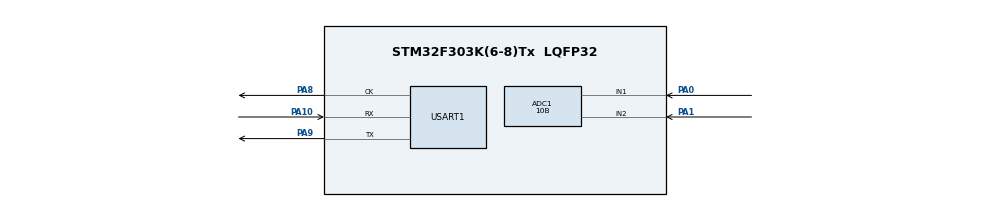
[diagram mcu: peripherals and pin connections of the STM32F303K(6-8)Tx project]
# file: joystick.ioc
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ADC1.Channel-0\#ChannelRegularConversion=ADC_CHANNEL_1
ADC1.ContinuousConvMode=DISABLE
ADC1.DMAContinuousRequests=ENABLE
ADC1.ExternalTrigConv=ADC_EXTERNALTRIGCONV_T1_TRGO
ADC1.NbrOfConversionFlag=1
ADC1.Offset-0\#ChannelRegularConversion=0
ADC1.OffsetNumber-0\#ChannelRegularConversion=ADC_OFFSET_NONE
ADC1.Rank-0\#ChannelRegularConversion=1
ADC1.Resolution=ADC_RESOLUTION_10B
ADC1.SamplingTime-0\#ChannelRegularConversion=ADC_SAMPLETIME_1CYCLE_5
ADC1.SubFamily=STM32F303x8
ADC1.master=1
Dma.ADC1.0.Direction=DMA_PERIPH_TO_MEMORY
Dma.ADC1.0.Instance=DMA1_Channel1
Dma.ADC1.0.MemDataAlignment=DMA_MDATAALIGN_HALFWORD
Dma.ADC1.0.MemInc=DMA_MINC_ENABLE
Dma.ADC1.0.Mode=DMA_NORMAL
Dma.ADC1.0.PeriphDataAlignment=DMA_PDATAALIGN_HALFWORD
Dma.ADC1.0.PeriphInc=DMA_PINC_DISABLE
Dma.ADC1.0.Priority=DMA_PRIORITY_HIGH
Dma.Request0=ADC1
Mcu.Family=STM32F3
Mcu.Name=STM32F303K(6-8)Tx
Mcu.Package=LQFP32
NVIC.ADC1_2_IRQn=true\:0\:0\:false\:false\:true\:true\:true\:true
NVIC.DMA1_Channel1_IRQn=true\:0\:0\:false\:false\:true\:false\:true\:true
NVIC.PriorityGroup=NVIC_PRIORITYGROUP_4
PA0.Mode=IN1-Single-Ended
PA0.Signal=ADC1_IN1
PA1.Mode=IN2-Single-Ended
PA1.Signal=ADC1_IN2
PA10.Mode=Synchronous
PA10.Signal=USART1_RX
PA8.Mode=Synchronous
PA8.Signal=USART1_CK
PA9.Mode=Synchronous
PA9.Signal=USART1_TX
ProjectManager.HeapSize=0x200
ProjectManager.StackSize=0x400
ProjectManager.TargetToolchain=STM32CubeIDE
RCC.AHBFreq_Value=8000000
RCC.APB1Freq_Value=8000000
RCC.APB2Freq_Value=8000000
RCC.CortexFreq_Value=8000000
RCC.DATA_CACHE_ENABLE=1
RCC.HSE_VALUE=8000000
RCC.HSI_VALUE=8000000
RCC.INSTRUCTION_CACHE_ENABLE=1
RCC.MSICalibrationValue=0
RCC.PLLMUL=RCC_PLL_MUL4
RCC.PWR_Regulator_Voltage_Scale=PWR_REGULATOR_VOLTAGE_SCALE1
RCC.SYSCLKFreq_VALUE=8000000
TIM1.Channel-Output\ Compare1\ No\ Output=TIM_CHANNEL_1
TIM1.ClockDivision=TIM_CLOCKDIVISION_DIV4
TIM1.Period=999
TIM1.Prescaler=31
TIM1.TIM_MasterOutputTrigger=TIM_TRGO_UPDATE
TIM1.TIM_MasterOutputTrigger2=TIM_TRGO2_UPDATE
USART1.VirtualMode-Synchronous=VM_SYNC
VP_TIM1_VS_ClockSourceINT.Mode=Internal
VP_TIM1_VS_no_output1.Mode=Output Compare1 No Output
board=custom

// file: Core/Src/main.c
/* USER CODE BEGIN Header */
/**
  ******************************************************************************
  * @file           : main.c
  * @brief          : Main program body
  ******************************************************************************
  * @attention
  *
  * Copyright (c) 2024 STMicroelectronics.
  * All rights reserved.
  *
  * This software is licensed under terms that can be found in the LICENSE file
  * in the root directory of this software component.
  * If no LICENSE file comes with this software, it is provided AS-IS.
  *
  ******************************************************************************
  */
/* USER CODE END Header */
#include "main.h"
#include "adc.h"
#include "dma.h"
#include "usart.h"
#include "gpio.h"
#include "tim1.h"
#include "../MD25/md25.h"

/* USER CODE BEGIN PTD */

uint16_t adc_buffer[ADC_BUFFER_SIZE];
uint16_t STLAC_buffer[ADC_BUFFER_SIZE];
uint8_t a=0;
/* USER CODE END PTD */

void SystemClock_Config(void);

int main(void)
{

  /* MCU Configuration--------------------------------------------------------*/

  /* Reset of all peripherals, Initializes the Flash interface and the Systick. */
  LL_APB2_GRP1_EnableClock(LL_APB2_GRP1_PERIPH_SYSCFG);
  LL_APB1_GRP1_EnableClock(LL_APB1_GRP1_PERIPH_PWR);

  /* System interrupt init*/
  NVIC_SetPriorityGrouping(NVIC_PRIORITYGROUP_4);

  /* SysTick_IRQn interrupt configuration */
  NVIC_SetPriority(SysTick_IRQn, NVIC_EncodePriority(NVIC_GetPriorityGrouping(),15, 0));

  /* Configure the system clock */
  SystemClock_Config();

  uint8_t a=0;
  uint8_t b=0;
  uint8_t aloha[2];
  /* Initialize all configured peripherals */
  MX_GPIO_Init();
  MX_DMA_Init();
  MX_ADC1_Init();
  MX_TIM1_Init();
  /* USER CODE BEGIN 2 */
  MX_USART1_UART_Init();
    /* USER CODE BEGIN 2 */
    /* USER CODE END 2 */

    while(!LL_USART_IsEnabled(USART1)) {
        // USART1 is enabled
    }
  /* USER CODE END 2 */

  /* Infinite loop */
  /* USER CODE BEGIN WHILE */
       MD25_init();
        LL_mDelay(10);
      a=get_mode();
        get_speed_Both(aloha);
       set_mode(2);
      // set_speed_Both(10,10);
    Start_ADC_Conversion();
  while (1)
  {

    /* USER CODE END WHILE */
    /* USER CODE BEGIN 3 */

	 if(Prepinanie()) {
		 Check_Input_Pins();

	 }
	 else {
	adc_buffer[0]=adcConvertedDataBuffer[0]/4;
	adc_buffer[1]=adcConvertedDataBuffer[1]/4;
	set_speed_Both(adc_buffer[0],adc_buffer[1]);
	get_speed_Both(aloha);
	 }
  }
  /* USER CODE END 3 */
}

void SystemClock_Config(void)
{
  LL_FLASH_SetLatency(LL_FLASH_LATENCY_0);
  while(LL_FLASH_GetLatency()!= LL_FLASH_LATENCY_0)
  {
  }
  LL_RCC_HSI_Enable();

   /* Wait till HSI is ready */
  while(LL_RCC_HSI_IsReady() != 1)
  {

  }
  LL_RCC_HSI_SetCalibTrimming(16);
  LL_RCC_PLL_ConfigDomain_SYS(LL_RCC_PLLSOURCE_HSI_DIV_2, LL_RCC_PLL_MUL_4);
  LL_RCC_PLL_Enable();

   /* Wait till PLL is ready */
  while(LL_RCC_PLL_IsReady() != 1)
  {

  }
  LL_RCC_SetAHBPrescaler(LL_RCC_SYSCLK_DIV_1);
  LL_RCC_SetAPB1Prescaler(LL_RCC_APB1_DIV_1);
  LL_RCC_SetAPB2Prescaler(LL_RCC_APB2_DIV_1);
  LL_RCC_SetSysClkSource(LL_RCC_SYS_CLKSOURCE_HSI);

   /* Wait till System clock is ready */
  while(LL_RCC_GetSysClkSource() != LL_RCC_SYS_CLKSOURCE_STATUS_HSI)
  {

  }
  LL_Init1msTick(8000000);
  LL_SetSystemCoreClock(8000000);
  LL_RCC_SetUSARTClockSource(LL_RCC_USART1_CLKSOURCE_PCLK1);
  LL_RCC_SetTIMClockSource(LL_RCC_TIM1_CLKSOURCE_PCLK2);
  LL_RCC_SetADCClockSource(LL_RCC_ADC12_CLKSRC_PLL_DIV_1);
}

/* USER CODE BEGIN 4 */
void Check_Input_Pins(void)
{
	STLAC_buffer[0]=128;
	STLAC_buffer[1]=128;

	//DPLAVA
    if (!LL_GPIO_IsInputPinSet(GPIOB, LL_GPIO_PIN_0))
    {
    	STLAC_buffer[1]=STLAC_buffer[1]-40;

    }

    if (!LL_GPIO_IsInputPinSet(GPIOB, LL_GPIO_PIN_6))
    {
    	STLAC_buffer[1]=STLAC_buffer[1]+40;
    }

    if (!LL_GPIO_IsInputPinSet(GPIOB, LL_GPIO_PIN_7))
    {
    	STLAC_buffer[0]=STLAC_buffer[0]-50;
    }

    // Kontrola stavu pinu na GPIOA
    if (!LL_GPIO_IsInputPinSet(GPIOA, LL_GPIO_PIN_12))
    {
    	STLAC_buffer[0]=STLAC_buffer[0]+50;
    }
    set_speed_Both(STLAC_buffer[0],STLAC_buffer[1]);
}

uint8_t Prepinanie(void)
{
	 if (!LL_GPIO_IsInputPinSet(GPIOB, LL_GPIO_PIN_1) && a==0)
	    {
	    	a=1;
	    	while(!LL_GPIO_IsInputPinSet(GPIOB, LL_GPIO_PIN_1)){ }

	    }
	 else if(!LL_GPIO_IsInputPinSet(GPIOB, LL_GPIO_PIN_1)&& a ==1)
	    {
	    	a=0;
	    	while(!LL_GPIO_IsInputPinSet(GPIOB, LL_GPIO_PIN_1)){  }

	    }

	 if (a==0){
		 return 1;

	 }
	 else{
		 return 0;
	 }

}
/* USER CODE END 4 */

void Error_Handler(void)
{
  __disable_irq();
  while (1)
  {
  }
}
